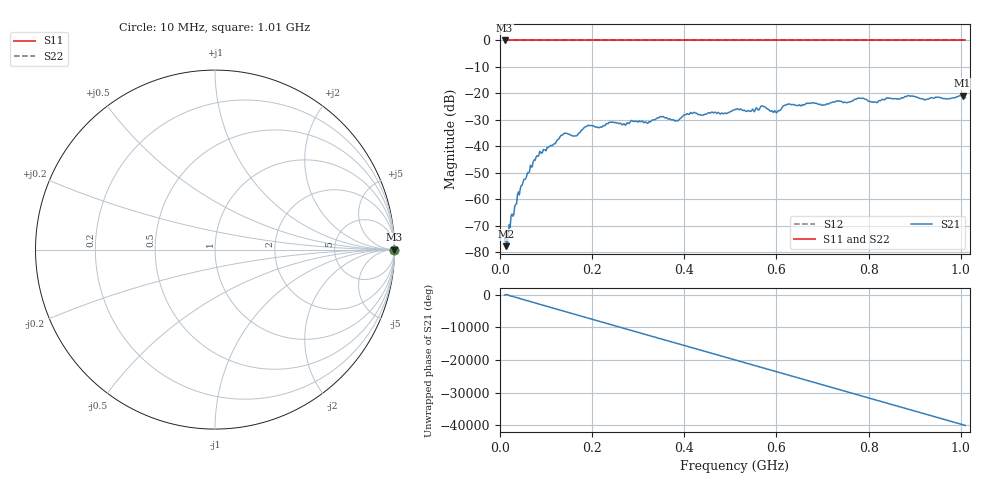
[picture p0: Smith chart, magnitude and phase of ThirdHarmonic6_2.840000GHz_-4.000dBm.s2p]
! 8/17/2025 7:37:20 AM
! C:\ANRITSUVNA\TEMP\TEMP.S2P
! CHANNEL.1
! TR.MEASUREMENT
! RAW.DATA
! RF.CORRECTION.OFF
! AVERAGING.OFF
! IF.BANDWIDTH: 5KHZ
! SWEEPTYPE:  FREQ.SWEEP(Linear)
! Reference Plane Port Info
! PORT:  PORT1  PORT2
! DISTANCE:  0  m  0  m
! TIME:  0  s  0  s
! PHASE.OFFSET:  0  deg.  0  deg.
! LOSS:  0  dB  0  dB
! REF.LOSS:  0  dB  0  dB
! REF.FREQ:  0  Hz  0  Hz
! Power Info
! POWER:  -20  dBm  -20  dBm
! EFF.POWER:  -20  dBm  -20  dBm
! SOURCE.ATTEN:  0  dB  0  dB
! TEST.ATTEN:  0  dB  0  dB
# GHZ S RI R 50.0
! FREQ.GHZ  S11RE  S11IM  S21RE  S21IM  S12RE  S12IM  S22RE  S22IM
!; PortSelection: Port_12
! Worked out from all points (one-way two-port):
!   501 points, 10 MHz to 1.01 GHz, reference 50 ohm
!   highest |S21| = -20.77 dB at 1.004 GHz (marker M1); lowest = -77.6 dB at 14 MHz (marker M2)
!   lowest |S11| = 0.0 dB at 10 MHz (marker M3)
!   |S11| at or under -10 dB: nowhere
!   |S22| runs from 0.0 to 0.0 dB; largest |S21 - S12| = 1.1
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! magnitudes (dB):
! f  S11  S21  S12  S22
! 10 MHz  0.0  -75.5  0.0  0.0
! 14 MHz  0.0  -77.6  0.0  0.0
! 42 MHz  0.0  -58.3  0.0  0.0
! 76 MHz  0.0  -45.2  0.0  0.0
! 136 MHz  0.0  -35.6  0.0  0.0
! 164 MHz  0.0  -36.0  0.0  0.0
! 178 MHz  0.0  -33.7  0.0  0.0
! 194 MHz  0.0  -32.1  0.0  0.0
! 322 MHz  0.0  -31.0  0.0  0.0
! 344 MHz  0.0  -29.3  0.0  0.0
! 382 MHz  0.0  -30.3  0.0  0.0
! 418 MHz  0.0  -27.6  0.0  0.0
! 510 MHz  0.0  -26.1  0.0  0.0
! 570 MHz  0.0  -24.7  0.0  0.0
! 598 MHz  0.0  -26.8  0.0  0.0
! 624 MHz  0.0  -24.1  0.0  0.0
! 678 MHz  0.0  -23.5  0.0  0.0
! 780 MHz  0.0  -21.8  0.0  0.0
! 814 MHz  0.0  -23.2  0.0  0.0
! 844 MHz  0.0  -21.8  0.0  0.0
! 1.004 GHz  0.0  -20.8  0.0  0.0
! 1.01 GHz  0.0  -21.6  0.0  0.0
